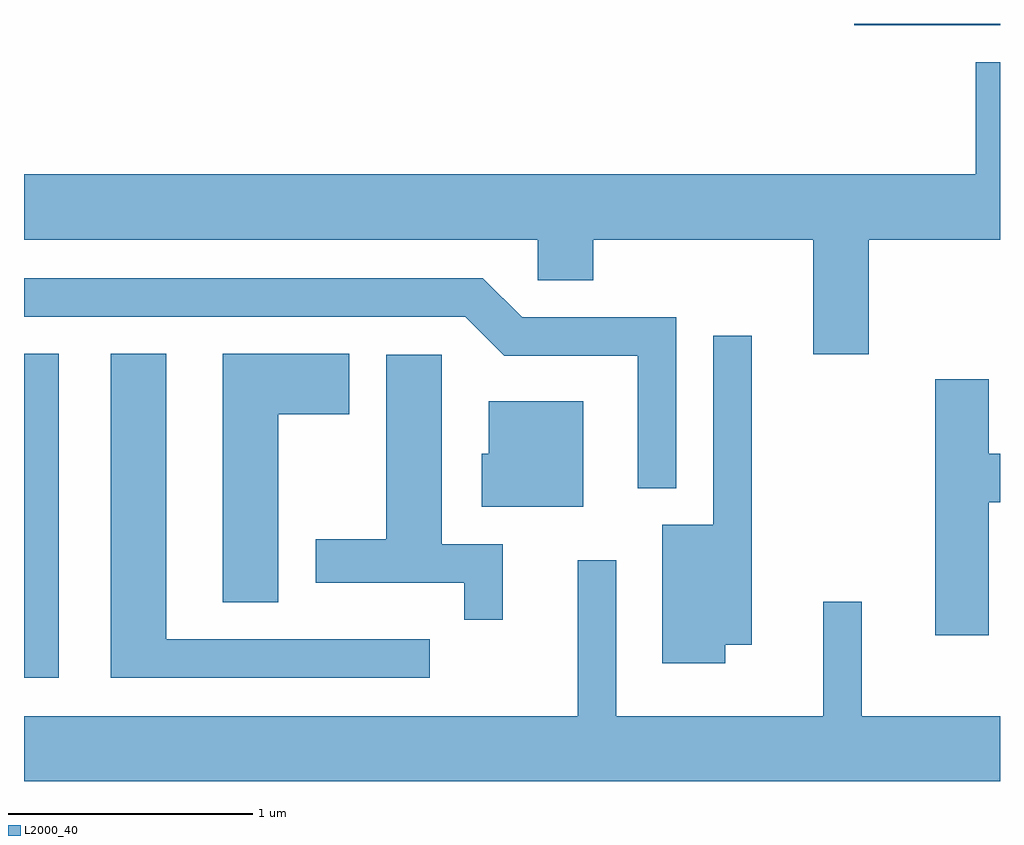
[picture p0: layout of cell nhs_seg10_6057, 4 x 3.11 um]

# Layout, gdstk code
import gdstk
lib = gdstk.Library(unit=1e-6, precision=1e-09)
def R(c, l, rs):  # rectangles x0, y0, x1, y1
    for r in rs: c.add(gdstk.rectangle(r[:2], r[2:], *l))
def P(c, l, *ps):  # polygons
    for p in ps: c.add(gdstk.Polygon(p, *l))
L2000_40 = (2000, 40)

nhs_seg10_6057 = lib.new_cell('nhs_seg10_6057')
R(nhs_seg10_6057, L2000_40, [(363.611,2169.841,363.754,2171.169), (367.013,2172.516,367.611,2172.522)])
P(nhs_seg10_6057, L2000_40, [(363.611,2171.636),(365.716,2171.636),(365.716,2171.471),(365.944,2171.471),(365.944,2171.636),(366.846,2171.636),(366.846,2171.166),(367.074,2171.166),(367.074,2171.636),(367.611,2171.636),(367.611,2172.364),(367.511,2172.364),(367.511,2171.904),(363.611,2171.904)],
  [(366.284,2171.319),(365.652,2171.319),(365.492,2171.479),(363.611,2171.479),(363.611,2171.321),(365.419,2171.321),(365.579,2171.161),(366.126,2171.161),(366.126,2170.618),(366.284,2170.618)],
  [(366.484,2169.976),(366.594,2169.976),(366.594,2171.243),(366.436,2171.243),(366.436,2170.469),(366.226,2170.469),(366.226,2169.901),(366.484,2169.901)],
  [(364.654,2170.921),(364.944,2170.921),(364.944,2171.169),(364.426,2171.169),(364.426,2170.151),(364.654,2170.151)],
  [(365.273,2169.999),(364.194,2169.999),(364.194,2171.169),(363.966,2171.169),(363.966,2169.841),(365.273,2169.841)],
  [(365.574,2170.389),(365.324,2170.389),(365.324,2171.164),(365.096,2171.164),(365.096,2170.409),(364.806,2170.409),(364.806,2170.231),(365.416,2170.231),(365.416,2170.078),(365.574,2170.078)],
  [(367.564,2170.561),(367.611,2170.561),(367.611,2170.759),(367.564,2170.759),(367.564,2171.064),(367.346,2171.064),(367.346,2170.016),(367.564,2170.016)],
  [(365.904,2170.974),(365.516,2170.974),(365.516,2170.759),(365.486,2170.759),(365.486,2170.541),(365.904,2170.541)],
  [(367.611,2169.684),(367.044,2169.684),(367.044,2170.153),(366.886,2170.153),(366.886,2169.684),(366.039,2169.684),(366.039,2170.323),(365.881,2170.323),(365.881,2169.684),(363.611,2169.684),(363.611,2169.416),(367.611,2169.416)])

lib.write_gds('nhs_seg10_6057.gds')
